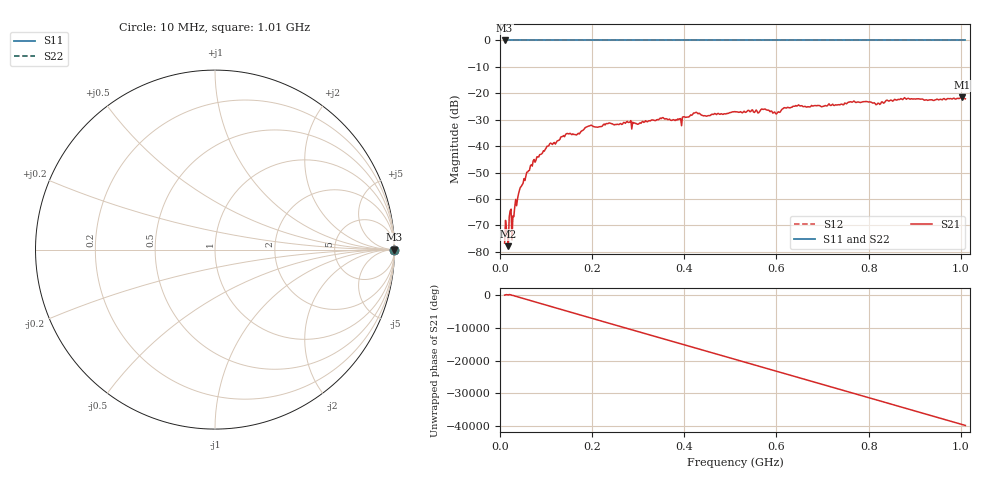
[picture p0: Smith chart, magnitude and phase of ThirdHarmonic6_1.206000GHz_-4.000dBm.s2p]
! 8/16/2025 12:31:27 PM
! C:\ANRITSUVNA\TEMP\TEMP.S2P
! CHANNEL.1
! TR.MEASUREMENT
! RAW.DATA
! RF.CORRECTION.OFF
! AVERAGING.OFF
! IF.BANDWIDTH: 5KHZ
! SWEEPTYPE:  FREQ.SWEEP(Linear)
! Reference Plane Port Info
! PORT:  PORT1  PORT2
! DISTANCE:  0  m  0  m
! TIME:  0  s  0  s
! PHASE.OFFSET:  0  deg.  0  deg.
! LOSS:  0  dB  0  dB
! REF.LOSS:  0  dB  0  dB
! REF.FREQ:  0  Hz  0  Hz
! Power Info
! POWER:  -20  dBm  -20  dBm
! EFF.POWER:  -20  dBm  -20  dBm
! SOURCE.ATTEN:  0  dB  0  dB
! TEST.ATTEN:  0  dB  0  dB
# GHZ S RI R 50.0
! FREQ.GHZ  S11RE  S11IM  S21RE  S21IM  S12RE  S12IM  S22RE  S22IM
!; PortSelection: Port_12
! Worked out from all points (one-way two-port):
!   501 points, 10 MHz to 1.01 GHz, reference 50 ohm
!   highest |S21| = -21.51 dB at 1.002 GHz (marker M1); lowest = -77.8 dB at 18 MHz (marker M2)
!   lowest |S11| = 0.0 dB at 10 MHz (marker M3)
!   |S11| at or under -10 dB: nowhere
!   |S22| runs from 0.0 to 0.0 dB; largest |S21 - S12| = 1.1
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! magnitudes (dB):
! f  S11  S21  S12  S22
! 10 MHz  0.0  -76.7  0.0  0.0
! 18 MHz  0.0  -77.8  0.0  0.0
! 24 MHz  0.0  -63.8  0.0  0.0
! 30 MHz  0.0  -66.7  0.0  0.0
! 44 MHz  0.0  -55.6  0.0  0.0
! 70 MHz  0.0  -47.6  0.0  0.0
! 106 MHz  0.0  -39.8  0.0  0.0
! 146 MHz  0.0  -35.2  0.0  0.0
! 178 MHz  0.0  -34.2  0.0  0.0
! 196 MHz  0.0  -32.2  0.0  0.0
! 344 MHz  0.0  -30.0  0.0  0.0
! 390 MHz  0.0  -29.6  0.0  0.0
! 424 MHz  0.0  -27.3  0.0  0.0
! 446 MHz  0.0  -28.6  0.0  0.0
! 510 MHz  0.0  -26.9  0.0  0.0
! 572 MHz  0.0  -26.1  0.0  0.0
! 602 MHz  0.0  -27.3  0.0  0.0
! 620 MHz  0.0  -25.5  0.0  0.0
! 678 MHz  0.0  -24.8  0.0  0.0
! 844 MHz  0.0  -23.0  0.0  0.0
! 1.002 GHz  0.0  -21.5  0.0  0.0
! 1.01 GHz  0.0  -22.1  0.0  0.0
